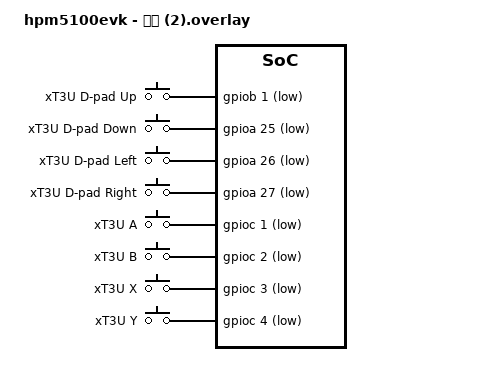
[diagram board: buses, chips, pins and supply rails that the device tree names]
/*
 * xT3U 当前已占用/保留的 I/O（HPM5100EVK，供后续分配引脚时查询）：
 *
 * 0. 启动 Flash 与调试下载
 *    - PA09：SPI0_DAT3；PA10：SPI0_SCLK；PA12：SPI0_DAT1；
 *      PA13：SPI0_DAT0；PA14：SPI0_DAT2；PA11：外部 NOR Flash 片选。
 *      这些脚由启动 Flash/XPI0 使用，不能复用。
 *    - D_TRST、D_TMS、D_TCK、D_TDO、D_TDI 为板载调试器使用的 JTAG 网络，
 *      不应分配给应用。
 *
 * 1. USB0（CherryUSB 设备控制器）
 *    - PB20：USB_DM，专用 USB PHY 焊盘。
 *    - PB21：USB_DP，专用 USB PHY 焊盘。
 *    - PB13：USB0_ID；PB14：USB0_PWR；PB15：USB0_OC。
 *      上述 3 个 USB 辅助控制脚由板级 pinctrl 配置，不应另作 GPIO。
 *
 * 2. 调试与板载基础功能
 *    - PA00：UART0_TXD；PA01：UART0_RXD，连接板载调试器，供 Zephyr
 *      console/printk 使用。
 *    - PA30：UART3_RXD；PA31：UART3_TXD，从 J7[9]/J7[10] 引出，
 *      作为 APP 主通信链路。
 *    - PY06：UART2_RXD；PY07：UART2_TXD，NS通信链路。PY07与WKUP
 *      按键侧电容相连，高波特率使用前需要确认波形。
 *    - PA15：板载用户按键 sw0（低有效）；短按用于手柄全键值上报，长按
 *      切换 USB 模式。
 *    - PA18：板载红色 LED（低有效）。
 *
 * 3. USB 音频（ES8389）
 *    - PA22：I2C2_SDA；PA23：I2C2_SCL，ES8389 寄存器控制总线。
 *    - PB04：I2S0_MCLK；PB09：I2S0_BCLK；PB10：I2S0_FCLK/LRCK。
 *    - PB00：I2S0_TXD_0，送往 ES8389 DSDIN；PB08：I2S0_RXD_3，
 *      来自 ES8389 ASDOUT。
 *
 * 4. USB SOF 时序测量
 *    - PC13：GPTMR0_CH1 比较输出，标记 USB SOF 处理入口。
 *    - PC11：GPIOC11/FGPIO 输出；GPTMR0_CH3 在 SOF 后 60 us 到期并进入
 *      已注册回调时，由回调的首个 GPIO 操作拉高该脚，用于记录回调实际进入
 *      的时间。PC11 不再输出 GPTMR0_CH3 的硬件比较器波形。
 *
 * 5. 四路摇杆 ADC 与校准
 *    - PC05：ADC0_IN02，左摇杆 X；PA24：ADC1_IN12，左摇杆 Y。
 *    - PB12：ADC2_IN09，右摇杆 X；PB11：ADC3_IN11，右摇杆 Y。
 *    - PC07：GPIOC07，临时摇杆校准按键，P1[15]，内部上拉、低电平有效。
 *
 * 6. 板级 DTS 已启用但 xT3U 当前没有业务使用的资源
 *    - PY03：I2C1_SCL；PY02：I2C1_SDA。
 *    - PC06：SPI3_CS；PC10：SPI3_SCLK；PC13：SPI3_MOSI；PC15：SPI3_MISO。
 *      其中 PC13 会在 xT3U 运行期改配为上面的 SOF 测量输出，不能使用 SPI3。
 *      若计划复用以上资源，须同时调整板级 DTS/pinctrl 和运行时代码，
 *      不能只修改此 overlay。
 *
 * 本 test_io overlay 只启用按键 GPIO。产品 overlay 里下列项与当前
 * sdk_glue 板级冲突，未启用：
 *   - 再定义 uart3@f004c000：SoC DTS 已有该节点。
 *   - 改 usb0 compatible 为 cherryusb / 关 HDMA / 改 sram=dlm：
 *     会动到 console、链接和 USB 栈，不属于本例程。
 *   - gpioa pinctrl-0 挂两个 phandle：HPM pinctrl 只走第一个
 *     phandle 的 group，PA25–27 不会生效；改为给 &pinmux_gpioa 加 group。
 *   - Port C 必须 keeper-capability-disable，否则空闲 DI 常为 0。
 */

#include <zephyr/dt-bindings/input/input-event-codes.h>
#include <zephyr/dt-bindings/gpio/gpio.h>
#include <dt-bindings/pinctrl/hpmicro-pinctrl-common.h>

/* USER KEY PA15 / LED PA18 仍在板级 pinmux_gpioa；这里追加 dpad。 */
&pinmux_gpioa {
	group_xt3u {
		pinmux = <HPMICRO_PINMUX(HPMICRO_PIN(HPMICRO_PORTA, 25),
					 IOC_TYPE_IOC, 0, 0)>,
			 <HPMICRO_PINMUX(HPMICRO_PIN(HPMICRO_PORTA, 26),
					 IOC_TYPE_IOC, 0, 0)>,
			 <HPMICRO_PINMUX(HPMICRO_PIN(HPMICRO_PORTA, 27),
					 IOC_TYPE_IOC, 0, 0)>;
		input-enable;
		input-schmitt-enable;
		bias-pull-up;
	};
};

&pinctrl {
	pinmux_xt3u_button_gpiob: pinmux_xt3u_button_gpiob {
		group0 {
			pinmux = <HPMICRO_PINMUX(HPMICRO_PIN(HPMICRO_PORTB, 1),
						 IOC_TYPE_IOC, 0, 0)>;
			input-enable;
			input-schmitt-enable;
			bias-pull-up;
		};
	};

	pinmux_xt3u_button_gpioc: pinmux_xt3u_button_gpioc {
		group0 {
			pinmux = <HPMICRO_PINMUX(HPMICRO_PIN(HPMICRO_PORTC, 1),
						 IOC_TYPE_IOC, 0, 0)>,
				 <HPMICRO_PINMUX(HPMICRO_PIN(HPMICRO_PORTC, 2),
						 IOC_TYPE_IOC, 0, 0)>,
				 <HPMICRO_PINMUX(HPMICRO_PIN(HPMICRO_PORTC, 3),
						 IOC_TYPE_IOC, 0, 0)>,
				 <HPMICRO_PINMUX(HPMICRO_PIN(HPMICRO_PORTC, 4),
						 IOC_TYPE_IOC, 0, 0)>;
			input-enable;
			input-schmitt-enable;
			bias-pull-up;
			keeper-capability-disable;
		};
	};
};

&gpiob {
	status = "okay";
	pinctrl-0 = <&pinmux_xt3u_button_gpiob>;
	pinctrl-names = "default";
};

&gpioc {
	status = "okay";
	pinctrl-0 = <&pinmux_xt3u_button_gpioc>;
	pinctrl-names = "default";
};

/ {
	xt3u_buttons: xt3u_buttons {
		compatible = "gpio-keys";

		xt3u_button_up: up {
			gpios = <&gpiob 1 (GPIO_PULL_UP | GPIO_ACTIVE_LOW)>;
			zephyr,code = <INPUT_KEY_UP>;
			label = "xT3U D-pad Up";
		};

		xt3u_button_down: down {
			gpios = <&gpioa 25 (GPIO_PULL_UP | GPIO_ACTIVE_LOW)>;
			zephyr,code = <INPUT_KEY_DOWN>;
			label = "xT3U D-pad Down";
		};

		xt3u_button_left: left {
			gpios = <&gpioa 26 (GPIO_PULL_UP | GPIO_ACTIVE_LOW)>;
			zephyr,code = <INPUT_KEY_LEFT>;
			label = "xT3U D-pad Left";
		};

		xt3u_button_right: right {
			gpios = <&gpioa 27 (GPIO_PULL_UP | GPIO_ACTIVE_LOW)>;
			zephyr,code = <INPUT_KEY_RIGHT>;
			label = "xT3U D-pad Right";
		};

		xt3u_button_a: button_a {
			gpios = <&gpioc 1 (GPIO_PULL_UP | GPIO_ACTIVE_LOW)>;
			zephyr,code = <INPUT_KEY_A>;
			label = "xT3U A";
		};

		xt3u_button_b: button_b {
			gpios = <&gpioc 2 (GPIO_PULL_UP | GPIO_ACTIVE_LOW)>;
			zephyr,code = <INPUT_KEY_B>;
			label = "xT3U B";
		};

		xt3u_button_x: button_x {
			gpios = <&gpioc 3 (GPIO_PULL_UP | GPIO_ACTIVE_LOW)>;
			zephyr,code = <INPUT_KEY_X>;
			label = "xT3U X";
		};

		xt3u_button_y: button_y {
			gpios = <&gpioc 4 (GPIO_PULL_UP | GPIO_ACTIVE_LOW)>;
			zephyr,code = <INPUT_KEY_Y>;
			label = "xT3U Y";
		};
	};

	aliases {
		xt3u-button-up = &xt3u_button_up;
		xt3u-button-down = &xt3u_button_down;
		xt3u-button-left = &xt3u_button_left;
		xt3u-button-right = &xt3u_button_right;
		xt3u-button-a = &xt3u_button_a;
		xt3u-button-b = &xt3u_button_b;
		xt3u-button-x = &xt3u_button_x;
		xt3u-button-y = &xt3u_button_y;
	};
};
